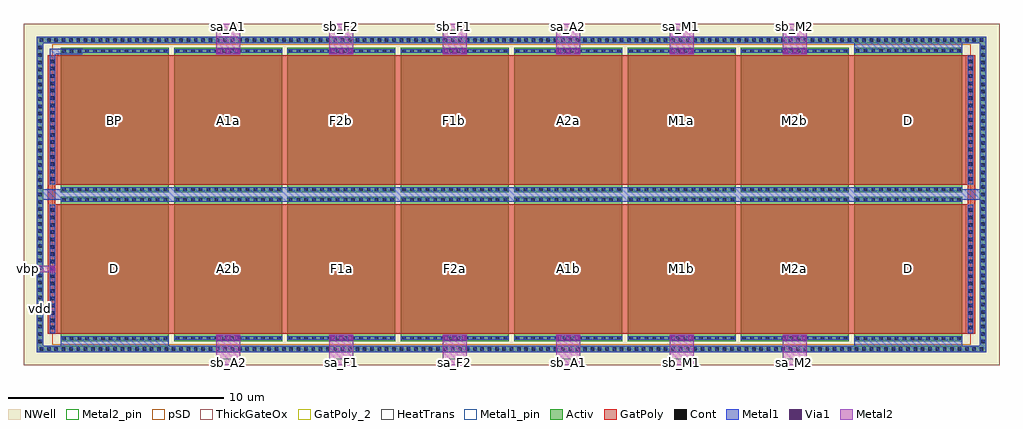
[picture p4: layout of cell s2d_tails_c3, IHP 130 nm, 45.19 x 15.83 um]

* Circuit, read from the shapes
.subckt s2d_tails_c3 sa_A1 sa_A2 sa_F1 sa_F2 sa_M1 sa_M2 sb_A1 sb_A2 sb_F1 sb_F2 sb_M1 sb_M2 vbp vdd
XM1 vdd vbp vdd vdd sg13_hv_pmos w=5u l=6u m=3
XM2 vbp vbp vdd vdd sg13_hv_pmos w=5u l=6u
XM3 vdd vbp sb_A2 vdd sg13_hv_pmos w=5u l=6u
XM4 sa_A1 vbp vdd vdd sg13_hv_pmos w=5u l=6u
XM5 vdd vbp sa_F1 vdd sg13_hv_pmos w=5u l=6u
XM6 sb_F2 vbp vdd vdd sg13_hv_pmos w=5u l=6u
XM7 vdd vbp sa_F2 vdd sg13_hv_pmos w=5u l=6u
XM8 sb_F1 vbp vdd vdd sg13_hv_pmos w=5u l=6u
XM9 vdd vbp sb_A1 vdd sg13_hv_pmos w=5u l=6u
XM10 sa_A2 vbp vdd vdd sg13_hv_pmos w=5u l=6u
XM11 vdd vbp sb_M1 vdd sg13_hv_pmos w=5u l=6u
XM12 sa_M1 vbp vdd vdd sg13_hv_pmos w=5u l=6u
XM13 vdd vbp sa_M2 vdd sg13_hv_pmos w=5u l=6u
XM14 sb_M2 vbp vdd vdd sg13_hv_pmos w=5u l=6u
.ends

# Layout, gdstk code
from math import pi, radians
import gdstk
lib = gdstk.Library(unit=1e-6, precision=1e-09)
def R(c, l, rs):  # rectangles x0, y0, x1, y1
    for r in rs: c.add(gdstk.rectangle(r[:2], r[2:], *l))
def A(c, l, x, y, w, h, nx, ny, dx, dy):  # array of equal rectangles
    R(c, l, [(x+i*dx, y+j*dy, x+i*dx+w, y+j*dy+h) for i in range(nx) for j in range(ny)])
Activ = (1, 0)
GatPoly = (5, 0)
GatPoly_2 = (5, 2)
Cont = (6, 0)
Metal1 = (8, 0)
Metal1_pin = (8, 2)
Metal2 = (10, 0)
Metal2_pin = (10, 2)
pSD = (14, 0)
Via1 = (19, 0)
NWell = (31, 0)
ThickGateOx = (44, 0)
HeatTrans = (51, 0)

pmoshv_w5_l6 = lib.new_cell('pmosHV_w5_l6')
R(pmoshv_w5_l6, Activ, [(0,0,0.3,0.3), (0,0,6.68,5), (6.38,0,6.68,0.3)])
R(pmoshv_w5_l6, GatPoly, [(0.34,-0.18,6.34,5.18)])
R(pmoshv_w5_l6, GatPoly_2, [(0.34,-0.18,6.34,5.18)])
A(pmoshv_w5_l6, Cont, 0.07, 0.07, 0.16, 0.16, 1, 4, 0, 0.36)
A(pmoshv_w5_l6, Cont, 6.45, 0.07, 0.16, 0.16, 1, 4, 0, 0.36)
A(pmoshv_w5_l6, Cont, 0.07, 1.515, 0.16, 0.16, 1, 3, 0, 0.36)
A(pmoshv_w5_l6, Cont, 6.45, 1.515, 0.16, 0.16, 1, 3, 0, 0.36)
A(pmoshv_w5_l6, Cont, 0.07, 2.6, 0.16, 0.16, 1, 3, 0, 0.36)
A(pmoshv_w5_l6, Cont, 6.45, 2.6, 0.16, 0.16, 1, 3, 0, 0.36)
A(pmoshv_w5_l6, Cont, 0.07, 3.685, 0.16, 0.16, 1, 3, 0, 0.36)
A(pmoshv_w5_l6, Cont, 6.45, 3.685, 0.16, 0.16, 1, 3, 0, 0.36)
R(pmoshv_w5_l6, Cont, [(0.07,4.77,0.23,4.93), (6.45,4.77,6.61,4.93)])
R(pmoshv_w5_l6, Metal1, [(0.07,0,0.23,5), (6.45,0,6.61,5)])
R(pmoshv_w5_l6, Metal1_pin, [(0.07,0,0.23,5), (6.45,0,6.61,5)])
R(pmoshv_w5_l6, pSD, [(-0.18,-0.4,6.86,5.4)])
R(pmoshv_w5_l6, NWell, [(-0.62,-0.62,7.3,5.62)])
R(pmoshv_w5_l6, ThickGateOx, [(-0.62,-0.62,7.3,5.62)])
R(pmoshv_w5_l6, HeatTrans, [(0.34,-0.18,6.34,5.18)])
pmoshv_w5_l6.add(gdstk.Label('pmosHV', (3.34,2.5), layer=63, texttype=0))
pmoshv_w5_l6.add(gdstk.Label('pmos', (3.34,2.5), layer=51, texttype=0))

s2d_tails_c3 = lib.new_cell('s2d_tails_c3')
R(s2d_tails_c3, Activ, [(0.62,0.62,44.57,0.92), (0.62,0.92,0.92,14.91), (44.27,0.92,44.57,14.91), (0.62,14.91,44.57,15.21)])
R(s2d_tails_c3, GatPoly, [(1.12,1.47,1.72,7.47), (43.47,1.47,44.07,7.47), (1.12,7.47,1.47,8.36), (43.72,7.47,44.07,8.36), (1.12,8.36,1.72,14.36), (43.47,8.36,44.07,14.36)])
A(s2d_tails_c3, Cont, 0.755, 0.69, 0.16, 0.16, 129, 2, 0.34, 14.29)
A(s2d_tails_c3, Cont, 0.69, 1.035, 0.16, 0.16, 1, 41, 0, 0.34)
A(s2d_tails_c3, Cont, 44.34, 1.035, 0.16, 0.16, 1, 41, 0, 0.34)
A(s2d_tails_c3, Cont, 1.26, 1.67, 0.16, 0.16, 1, 17, 0, 0.34)
A(s2d_tails_c3, Cont, 43.77, 1.67, 0.16, 0.16, 1, 17, 0, 0.34)
A(s2d_tails_c3, Cont, 1.26, 8.56, 0.16, 0.16, 1, 17, 0, 0.34)
A(s2d_tails_c3, Cont, 43.77, 8.56, 0.16, 0.16, 1, 17, 0, 0.34)
A(s2d_tails_c3, Metal1, 8.915, 1.14, 1.11, 0.29, 6, 2, 5.25, 13.26)
R(s2d_tails_c3, Metal1, [(0.62,0.62,44.57,0.92), (0.62,0.92,0.92,14.91), (1.72,0.92,6.72,1.36), (38.47,0.92,43.47,1.36), (44.27,0.92,44.57,14.91), (1.21,1.49,1.47,7.45), (43.72,1.49,43.98,7.45), (1.72,7.58,43.47,8.25), (0.92,7.67,44.27,8.16), (1.21,8.38,1.47,14.34), (43.72,8.38,43.98,14.34), (1.21,14.33,1.47,14.67), (1.21,14.41,2.72,14.67), (38.47,14.47,43.47,14.91), (0.62,14.91,44.57,15.21)])
R(s2d_tails_c3, Metal1_pin, [(0.62,1.63,0.92,3.63)])
A(s2d_tails_c3, Metal2, 8.915, 0, 1.11, 1.43, 6, 2, 5.25, 14.4)
R(s2d_tails_c3, Metal2, [(0,4.32,1.47,4.62)])
A(s2d_tails_c3, Metal2_pin, 8.915, 0, 1.11, 0.3, 6, 2, 5.25, 15.53)
R(s2d_tails_c3, Metal2_pin, [(0,4.32,0.5,4.62)])
A(s2d_tails_c3, Via1, 8.965, 1.19, 0.19, 0.19, 3, 2, 0.41, 13.26)
A(s2d_tails_c3, Via1, 14.215, 1.19, 0.19, 0.19, 3, 2, 0.41, 13.26)
A(s2d_tails_c3, Via1, 19.465, 1.19, 0.19, 0.19, 3, 2, 0.41, 13.26)
A(s2d_tails_c3, Via1, 24.715, 1.19, 0.19, 0.19, 3, 2, 0.41, 13.26)
A(s2d_tails_c3, Via1, 29.965, 1.19, 0.19, 0.19, 3, 2, 0.41, 13.26)
A(s2d_tails_c3, Via1, 35.215, 1.19, 0.19, 0.19, 3, 2, 0.41, 13.26)
R(s2d_tails_c3, Via1, [(1.245,4.375,1.435,4.565)])
R(s2d_tails_c3, NWell, [(0,0,45.19,15.83)])
R(s2d_tails_c3, ThickGateOx, [(0,0,45.19,15.83)])
s2d_tails_c3.add(gdstk.Reference(pmoshv_w5_l6, (1.72,7.81), rotation=3*pi/2))
s2d_tails_c3.add(gdstk.Reference(pmoshv_w5_l6, (6.97,7.81), rotation=3*pi/2))
s2d_tails_c3.add(gdstk.Reference(pmoshv_w5_l6, (12.22,7.81), rotation=3*pi/2))
s2d_tails_c3.add(gdstk.Reference(pmoshv_w5_l6, (17.47,7.81), rotation=3*pi/2))
s2d_tails_c3.add(gdstk.Reference(pmoshv_w5_l6, (27.72,7.81), rotation=3*pi/2, x_reflection=True))
s2d_tails_c3.add(gdstk.Reference(pmoshv_w5_l6, (32.97,7.81), rotation=3*pi/2, x_reflection=True))
s2d_tails_c3.add(gdstk.Reference(pmoshv_w5_l6, (38.22,7.81), rotation=3*pi/2, x_reflection=True))
s2d_tails_c3.add(gdstk.Reference(pmoshv_w5_l6, (43.47,7.81), rotation=3*pi/2, x_reflection=True))
s2d_tails_c3.add(gdstk.Reference(pmoshv_w5_l6, (1.72,8.02), rotation=pi/2, x_reflection=True))
s2d_tails_c3.add(gdstk.Reference(pmoshv_w5_l6, (6.97,8.02), rotation=pi/2, x_reflection=True))
s2d_tails_c3.add(gdstk.Reference(pmoshv_w5_l6, (12.22,8.02), rotation=pi/2, x_reflection=True))
s2d_tails_c3.add(gdstk.Reference(pmoshv_w5_l6, (17.47,8.02), rotation=pi/2, x_reflection=True))
s2d_tails_c3.add(gdstk.Reference(pmoshv_w5_l6, (27.72,8.02), rotation=pi/2))
s2d_tails_c3.add(gdstk.Reference(pmoshv_w5_l6, (32.97,8.02), rotation=pi/2))
s2d_tails_c3.add(gdstk.Reference(pmoshv_w5_l6, (38.22,8.02), rotation=pi/2))
s2d_tails_c3.add(gdstk.Reference(pmoshv_w5_l6, (43.47,8.02), rotation=pi/2))
s2d_tails_c3.add(gdstk.Label('vdd', (0.77,2.63), layer=8, texttype=25))
s2d_tails_c3.add(gdstk.Label('sb_A2', (9.47,0.15), layer=10, texttype=25))
s2d_tails_c3.add(gdstk.Label('sa_F1', (14.72,0.15), layer=10, texttype=25))
s2d_tails_c3.add(gdstk.Label('sa_F2', (19.97,0.15), layer=10, texttype=25))
s2d_tails_c3.add(gdstk.Label('sb_A1', (25.22,0.15), layer=10, texttype=25))
s2d_tails_c3.add(gdstk.Label('sb_M1', (30.47,0.15), layer=10, texttype=25))
s2d_tails_c3.add(gdstk.Label('sa_M2', (35.72,0.15), layer=10, texttype=25))
s2d_tails_c3.add(gdstk.Label('sa_A1', (9.47,15.68), layer=10, texttype=25))
s2d_tails_c3.add(gdstk.Label('sb_F2', (14.72,15.68), layer=10, texttype=25))
s2d_tails_c3.add(gdstk.Label('sb_F1', (19.97,15.68), layer=10, texttype=25))
s2d_tails_c3.add(gdstk.Label('sa_A2', (25.22,15.68), layer=10, texttype=25))
s2d_tails_c3.add(gdstk.Label('sa_M1', (30.47,15.68), layer=10, texttype=25))
s2d_tails_c3.add(gdstk.Label('sb_M2', (35.72,15.68), layer=10, texttype=25))
s2d_tails_c3.add(gdstk.Label('vbp', (0.25,4.47), layer=10, texttype=25))
s2d_tails_c3.add(gdstk.Label('D', (4.22,4.47), layer=63, texttype=0))
s2d_tails_c3.add(gdstk.Label('A2b', (9.47,4.47), layer=63, texttype=0))
s2d_tails_c3.add(gdstk.Label('F1a', (14.72,4.47), layer=63, texttype=0))
s2d_tails_c3.add(gdstk.Label('F2a', (19.97,4.47), layer=63, texttype=0))
s2d_tails_c3.add(gdstk.Label('A1b', (25.22,4.47), layer=63, texttype=0))
s2d_tails_c3.add(gdstk.Label('M1b', (30.47,4.47), layer=63, texttype=0))
s2d_tails_c3.add(gdstk.Label('M2a', (35.72,4.47), layer=63, texttype=0))
s2d_tails_c3.add(gdstk.Label('D', (40.97,4.47), layer=63, texttype=0))
s2d_tails_c3.add(gdstk.Label('BP', (4.22,11.36), layer=63, texttype=0))
s2d_tails_c3.add(gdstk.Label('A1a', (9.47,11.36), layer=63, texttype=0))
s2d_tails_c3.add(gdstk.Label('F2b', (14.72,11.36), layer=63, texttype=0))
s2d_tails_c3.add(gdstk.Label('F1b', (19.97,11.36), layer=63, texttype=0))
s2d_tails_c3.add(gdstk.Label('A2a', (25.22,11.36), layer=63, texttype=0))
s2d_tails_c3.add(gdstk.Label('M1a', (30.47,11.36), layer=63, texttype=0))
s2d_tails_c3.add(gdstk.Label('M2b', (35.72,11.36), layer=63, texttype=0))
s2d_tails_c3.add(gdstk.Label('D', (40.97,11.36), layer=63, texttype=0))

lib.write_gds('s2d_tails_c3.gds')
